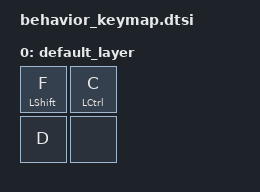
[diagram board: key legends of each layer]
#include <dt-bindings/zmk/keys.h>
#include <behaviors.dtsi>
#include <dt-bindings/zmk/kscan_mock.h>

/ {
    behaviors {
        tp: behavior_tap_preferred {
            compatible = "zmk,behavior-hold-tap";
            #binding-cells = <2>;
            flavor = "tap-preferred";
            tapping-term-ms = <300>;
            quick-tap-ms = <300>;
            require-prior-idle-ms = <100>;
            bindings = <&kp>, <&kp>;
        };
    };

    keymap {
        compatible = "zmk,keymap";

        default_layer {
            bindings = <
                &tp LEFT_SHIFT F &tp LEFT_CONTROL C
                &kp D &none>;
        };
    };
};
